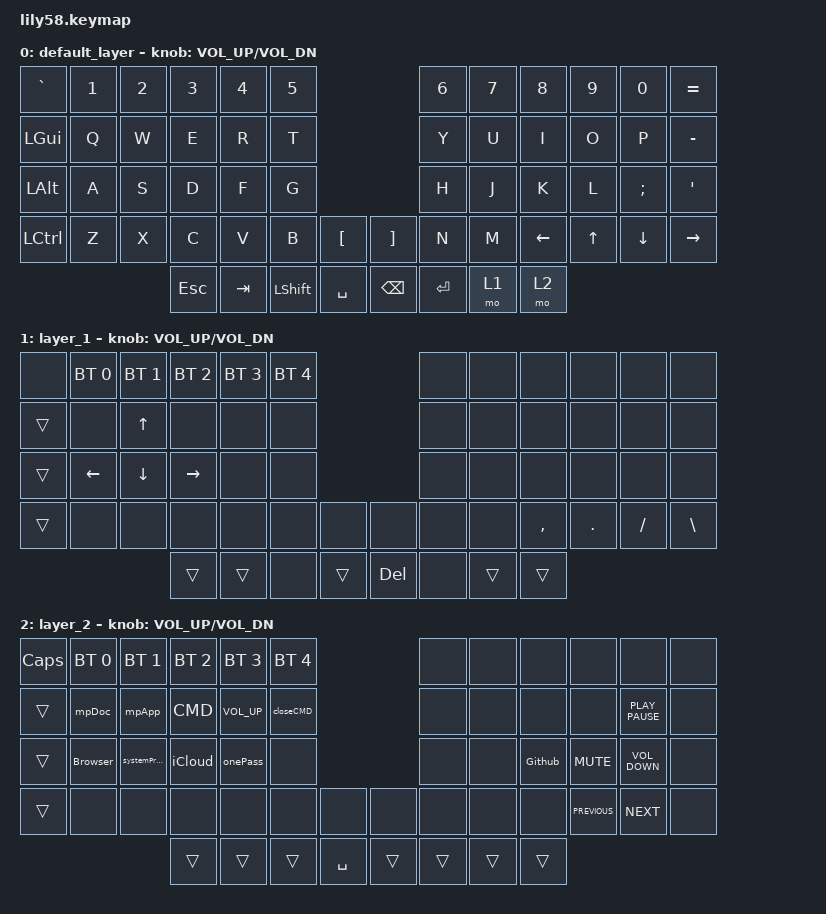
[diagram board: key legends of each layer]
/*
 * Copyright (c) 2020 The ZMK Contributors
 *
 * SPDX-License-Identifier: MIT
 */

#include <behaviors.dtsi>
#include <dt-bindings/zmk/bt.h>
#include <dt-bindings/zmk/ext_power.h>
#include <dt-bindings/zmk/keys.h>

/ {
    combos {
        compatible = "zmk,combos";

        Power-OnOff {
            bindings = <&ext_power EP_TOG>;
            key-positions = <42 43>;
        };
    };

    macros {
        mpDoc: mpDoc {
            compatible = "zmk,behavior-macro";
            #binding-cells = <0>;
            bindings = <&kp M &kp P &kp LS(D) &kp O &kp C>;
            label = "MPDOC";
        };

        mpApp: mpApp {
            compatible = "zmk,behavior-macro";
            #binding-cells = <0>;
            bindings = <&kp M &kp P &kp LS(A) &kp P &kp P>;
            label = "MPAPP";
        };

        Github: Github {
            compatible = "zmk,behavior-macro";
            #binding-cells = <0>;
            bindings = <&kp M &kp P &kp LS(A) &kp P &kp P &kp SPACE &kp LS(G) &kp I &kp T &kp H &kp U &kp B>;
            label = "GITHUB";
        };

        systemPrefrences: systemPrefrences {
            compatible = "zmk,behavior-macro";
            #binding-cells = <0>;
            bindings = <&kp M &kp P &kp LS(A) &kp P &kp P &kp SPACE &kp LS(S) &kp Y &kp S &kp T &kp E &kp M &kp LS(P) &kp R &kp E &kp F &kp E &kp R &kp E &kp N &kp C &kp E &kp S>;
            label = "SYSTEMPREFRENCES";
        };

        onePass: onePass {
            compatible = "zmk,behavior-macro";
            #binding-cells = <0>;
            bindings = <&kp M &kp P &kp LS(A) &kp P &kp P &kp SPACE &kp N1 &kp LS(P) &kp A &kp S &kp S &kp W &kp O &kp R &kp D>;
            label = "ONEPASS";
        };

        iCloud: iCloud {
            compatible = "zmk,behavior-macro";
            #binding-cells = <0>;
            bindings = <&kp I &kp LS(C) &kp L &kp O &kp U &kp D>;
            label = "ICLOUD";
        };

        Browser: Browser {
            compatible = "zmk,behavior-macro";
            #binding-cells = <0>;
            bindings = <&kp LS(B) &kp R &kp O &kp W &kp S &kp E &kp R>;
            label = "BROWSER";
        };

        CMD: CMD {
            compatible = "zmk,behavior-macro";
            #binding-cells = <0>;
            bindings = <&kp LC(LA(N0))>;
            label = "CMD";
        };

        closeCMD: closeCMD {
            compatible = "zmk,behavior-macro";
            #binding-cells = <0>;
            bindings = <&kp LG(W)>;
            label = "CLOSECMD";
        };
    };

    keymap {
        compatible = "zmk,keymap";

        default_layer {
            // ------------------------------------------------------------------------------------------------------------
            // |  ESC  |  1  |  2  |  3   |  4   |  5   |                   |  6   |  7    |  8    |  9   |   0   |   `   |
            // |  TAB  |  Q  |  W  |  E   |  R   |  T   |                   |  Y   |  U    |  I    |  O   |   P   |   -   |
            // |  CTRL |  A  |  S  |  D   |  F   |  G   |                   |  H   |  J    |  K    |  L   |   ;   |   '   |
            // | SHIFT |  Z  |  X  |  C   |  V   |  B   |   "["  |  |  "]"  |  N   |  M    |  ,    |  .   |   /   | SHIFT |
            //                     | ALT  | GUI  | LOWER|  SPACE |  | ENTER | RAISE| BSPC  | GUI   |

            bindings = <
&kp GRAVE  &kp N1  &kp N2  &kp N3   &kp N4   &kp N5                            &kp N6   &kp N7  &kp N8    &kp N9  &kp N0    &kp EQUAL
&kp LGUI   &kp Q   &kp W   &kp E    &kp R    &kp T                             &kp Y    &kp U   &kp I     &kp O   &kp P     &kp MINUS
&kp LALT   &kp A   &kp S   &kp D    &kp F    &kp G                             &kp H    &kp J   &kp K     &kp L   &kp SEMI  &kp SQT
&kp LCTRL  &kp Z   &kp X   &kp C    &kp V    &kp B      &kp LBKT     &kp RBKT  &kp N    &kp M   &kp LEFT  &kp UP  &kp DOWN  &kp RIGHT
                           &kp ESC  &kp TAB  &kp LSHFT  &kp SPACE    &kp BSPC  &kp RET  &mo 1   &mo 2
            >;

            sensor-bindings = <&inc_dec_kp C_VOL_UP C_VOL_DN>;
        };

        layer_1 {
            bindings = <
&none   &bt BT_SEL 0  &bt BT_SEL 1  &bt BT_SEL 2  &bt BT_SEL 3  &bt BT_SEL 4                        &none  &none   &none      &none    &none     &none
&trans  &none         &kp UP        &none         &none         &none                               &none  &none   &none      &none    &none     &none
&trans  &kp LEFT      &kp DOWN      &kp RIGHT     &none         &none                               &none  &none   &none      &none    &none     &none
&trans  &none         &none         &none         &none         &none         &none     &none       &none  &none   &kp COMMA  &kp DOT  &kp FSLH  &kp BSLH
                                    &trans        &trans        &none         &trans    &kp DELETE  &none  &trans  &trans
            >;

            sensor-bindings = <&inc_dec_kp C_VOL_UP C_VOL_DN>;
        };

        layer_2 {
            bindings = <
&kp CAPSLOCK  &bt BT_SEL 0  &bt BT_SEL 1       &bt BT_SEL 2  &bt BT_SEL 3     &bt BT_SEL 4                       &none   &none   &none    &none           &none              &none
&trans        &mpDoc        &mpApp             &CMD          &kp C_VOLUME_UP  &closeCMD                          &none   &none   &none    &none           &kp K_PLAY_PAUSE   &none
&trans        &Browser      &systemPrefrences  &iCloud       &onePass         &none                              &none   &none   &Github  &kp K_MUTE      &kp C_VOLUME_DOWN  &none
&trans        &none         &none              &none         &none            &none         &none        &none   &none   &none   &none    &kp C_PREVIOUS  &kp C_NEXT         &none
                                               &trans        &trans           &trans        &kp SPACE    &trans  &trans  &trans  &trans
            >;

            sensor-bindings = <&inc_dec_kp C_VOL_UP C_VOL_DN>;
        };
    };
};
